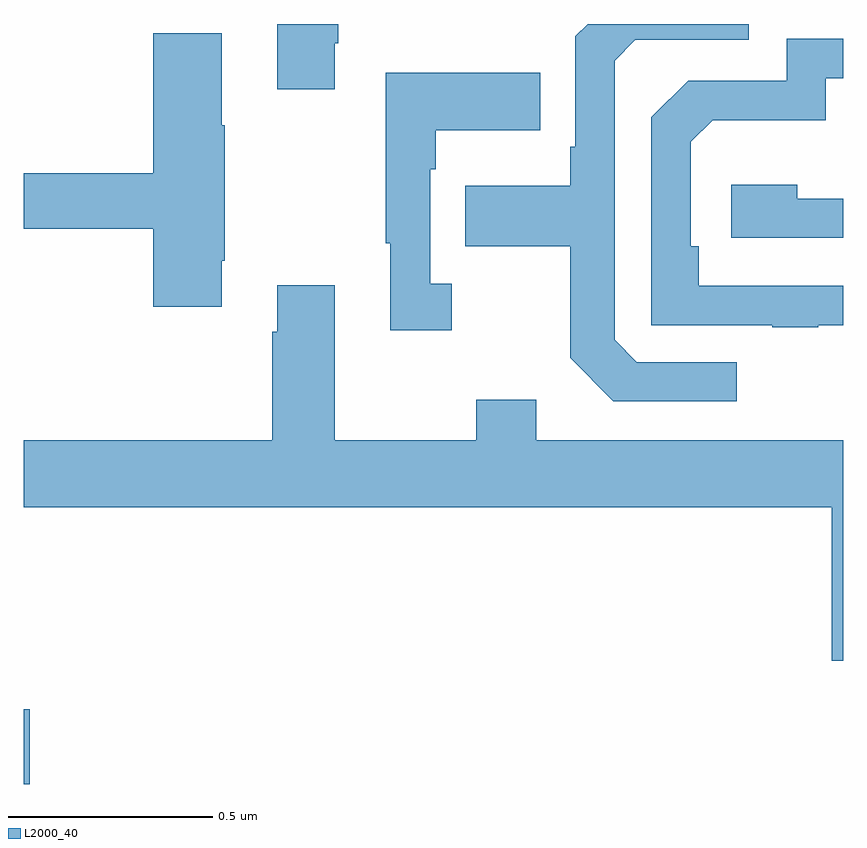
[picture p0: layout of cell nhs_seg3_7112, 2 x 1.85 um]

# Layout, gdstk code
import gdstk
lib = gdstk.Library(unit=1e-6, precision=1e-09)
def R(c, l, rs):  # rectangles x0, y0, x1, y1
    for r in rs: c.add(gdstk.rectangle(r[:2], r[2:], *l))
def P(c, l, *ps):  # polygons
    for p in ps: c.add(gdstk.Polygon(p, *l))
L2000_40 = (2000, 40)

nhs_seg3_7112 = lib.new_cell('nhs_seg3_7112')
R(nhs_seg3_7112, L2000_40, [(199,729.545,199.015,729.728)])
P(nhs_seg3_7112, L2000_40, [(199.759,731.353),(199.767,731.353),(199.767,731.4),(199.619,731.4),(199.619,731.241),(199.759,731.241)],
  [(200.74,730.575),(200.496,730.575),(200.442,730.629),(200.442,731.31),(200.493,731.361),(200.77,731.361),(200.77,731.4),(200.376,731.4),(200.346,731.37),(200.346,731.101),(200.334,731.101),(200.334,731.005),(200.077,731.005),(200.077,730.858),(200.334,730.858),(200.334,730.585),(200.439,730.479),(200.74,730.479)],
  [(199.483,730.822),(199.491,730.822),(199.491,731.153),(199.483,731.153),(199.483,731.377),(199.316,731.377),(199.316,731.036),(199,731.036),(199,730.9),(199.316,730.9),(199.316,730.71),(199.483,730.71)],
  [(200.939,730.665),(201,730.665),(201,730.761),(200.648,730.761),(200.648,730.858),(200.628,730.858),(200.628,731.112),(200.681,731.165),(200.958,731.165),(200.958,731.268),(201,731.268),(201,731.364),(200.862,731.364),(200.862,731.262),(200.622,731.262),(200.532,731.172),(200.532,730.665),(200.827,730.665),(200.827,730.66),(200.939,730.66)],
  [(200.044,730.766),(199.992,730.766),(199.992,731.045),(200.005,731.045),(200.005,731.141),(200.261,731.141),(200.261,731.281),(199.884,731.281),(199.884,730.865),(199.895,730.865),(199.895,730.653),(200.044,730.653)],
  [(201,730.974),(200.888,730.974),(200.888,731.008),(200.727,731.008),(200.727,730.878),(201,730.878)],
  [(201,730.384),(200.251,730.384),(200.251,730.483),(200.104,730.483),(200.104,730.384),(199.759,730.384),(199.759,730.762),(199.619,730.762),(199.619,730.649),(199.607,730.649),(199.607,730.384),(199,730.384),(199,730.22),(200.972,730.22),(200.972,729.846),(201,729.846)])

lib.write_gds('nhs_seg3_7112.gds')
